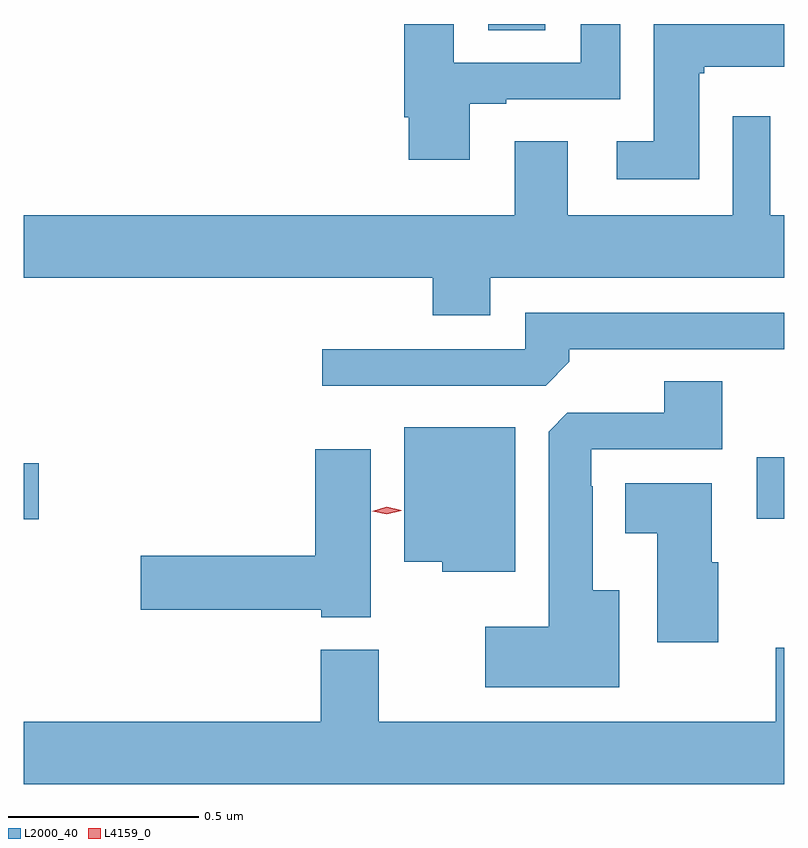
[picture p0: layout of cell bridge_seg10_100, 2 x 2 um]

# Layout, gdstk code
import gdstk
lib = gdstk.Library(unit=1e-6, precision=1e-09)
def R(c, l, rs):  # rectangles x0, y0, x1, y1
    for r in rs: c.add(gdstk.rectangle(r[:2], r[2:], *l))
def P(c, l, *ps):  # polygons
    for p in ps: c.add(gdstk.Polygon(p, *l))
L2000_40 = (2000, 40)
L4159_0 = (4159, 0)

bridge_seg10_100 = lib.new_cell('bridge_seg10_100')
R(bridge_seg10_100, L2000_40, [(509.572,1309.004,509.611,1309.151), (511.5,1309.006,511.572,1309.168), (510.794,1310.29,510.943,1310.307)])
P(bridge_seg10_100, L2000_40, [(511.348,1310.178),(511.362,1310.178),(511.362,1310.195),(511.572,1310.195),(511.572,1310.307),(511.229,1310.307),(511.229,1309.999),(511.131,1309.999),(511.131,1309.898),(511.348,1309.898)],
  [(510.745,1310.097),(510.841,1310.097),(510.841,1310.109),(511.141,1310.109),(511.141,1310.307),(511.037,1310.307),(511.037,1310.205),(510.703,1310.205),(510.703,1310.307),(510.572,1310.307),(510.572,1310.062),(510.584,1310.062),(510.584,1309.95),(510.745,1309.95)],
  [(510.799,1309.64),(511.572,1309.64),(511.572,1309.804),(511.535,1309.804),(511.535,1310.065),(511.437,1310.065),(511.437,1309.804),(511.003,1309.804),(511.003,1309.999),(510.863,1309.999),(510.863,1309.804),(509.572,1309.804),(509.572,1309.64),(510.647,1309.64),(510.647,1309.541),(510.799,1309.541)],
  [(511.007,1309.418),(511.007,1309.452),(511.572,1309.452),(511.572,1309.548),(510.891,1309.548),(510.891,1309.452),(510.357,1309.452),(510.357,1309.356),(510.945,1309.356)],
  [(511.138,1308.817),(511.069,1308.817),(511.069,1309.091),(511.065,1309.091),(511.065,1309.188),(511.409,1309.188),(511.409,1309.367),(511.256,1309.367),(511.256,1309.284),(511.002,1309.284),(510.953,1309.235),(510.953,1308.721),(510.786,1308.721),(510.786,1308.563),(511.138,1308.563)],
  [(510.865,1309.246),(510.572,1309.246),(510.572,1308.893),(510.672,1308.893),(510.672,1308.866),(510.865,1308.866)],
  [(510.484,1309.189),(510.338,1309.189),(510.338,1308.908),(509.88,1308.908),(509.88,1308.766),(510.354,1308.766),(510.354,1308.746),(510.484,1308.746)],
  [(511.399,1308.891),(511.381,1308.891),(511.381,1309.099),(511.154,1309.099),(511.154,1308.968),(511.238,1308.968),(511.238,1308.681),(511.399,1308.681)],
  [(511.572,1308.667),(511.55,1308.667),(511.55,1308.472),(510.505,1308.472),(510.505,1308.661),(510.353,1308.661),(510.353,1308.472),(509.572,1308.472),(509.572,1308.308),(511.572,1308.308)])
P(bridge_seg10_100, L4159_0, [(510.527,1309.017),(510.488,1309.026),(510.488,1309.026),(510.488,1309.026),(510.526,1309.037),(510.565,1309.028),(510.565,1309.027),(510.565,1309.027)])

lib.write_gds('bridge_seg10_100.gds')
